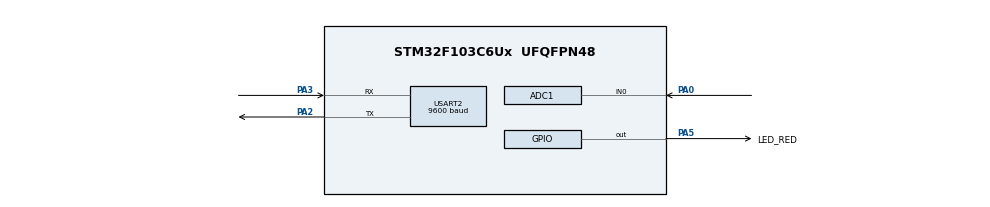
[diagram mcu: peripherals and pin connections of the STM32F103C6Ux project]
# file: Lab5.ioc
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ADC1.Channel-0\#ChannelRegularConversion=ADC_CHANNEL_0
ADC1.ContinuousConvMode=ENABLE
ADC1.NbrOfConversionFlag=1
ADC1.Rank-0\#ChannelRegularConversion=1
ADC1.SamplingTime-0\#ChannelRegularConversion=ADC_SAMPLETIME_1CYCLE_5
ADC1.master=1
Mcu.Family=STM32F1
Mcu.Name=STM32F103C6Ux
Mcu.Package=UFQFPN48
NVIC.PriorityGroup=NVIC_PRIORITYGROUP_4
NVIC.TIM2_IRQn=true\:0\:0\:false\:false\:true\:true\:true
NVIC.USART2_IRQn=true\:0\:0\:false\:false\:true\:true\:true
PA0-WKUP.Signal=ADCx_IN0
PA2.Mode=Asynchronous
PA2.Signal=USART2_TX
PA3.Mode=Asynchronous
PA3.Signal=USART2_RX
PA5.GPIO_Label=LED_RED
PA5.Signal=GPIO_Output
PA6.Signal=S_TIM3_CH1
ProjectManager.HeapSize=0x200
ProjectManager.StackSize=0x400
ProjectManager.TargetToolchain=STM32CubeIDE
RCC.APB1Freq_Value=8000000
RCC.APB2Freq_Value=8000000
SH.ADCx_IN0.0=ADC1_IN0,IN0
SH.S_TIM3_CH1.0=TIM3_CH1
TIM2.Period=9
TIM2.Prescaler=7999
USART2.BaudRate=9600
USART2.VirtualMode=VM_ASYNC
VP_SYS_VS_ND.Mode=No_Debug
VP_TIM2_VS_ClockSourceINT.Mode=Internal
board=custom

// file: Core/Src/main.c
/* USER CODE BEGIN Header */
/**
  ******************************************************************************
  * @file           : main.c
  * @brief          : Main program body
  ******************************************************************************
  * @attention
  *
  * <h2><center>&copy; Copyright (c) 2024 STMicroelectronics.
  * All rights reserved.</center></h2>
  *
  * This software component is licensed by ST under BSD 3-Clause license,
  * the "License"; You may not use this file except in compliance with the
  * License. You may obtain a copy of the License at:
  *                        opensource.org/licenses/BSD-3-Clause
  *
  ******************************************************************************
  */
/* USER CODE END Header */
#include "main.h"

/* USER CODE BEGIN Includes */
#include "time_set.h"
/* USER CODE END Includes */

/* USER CODE BEGIN PM */
#define MAX_BUFFER_SIZE 30
/* USER CODE END PM */

ADC_HandleTypeDef hadc1;

TIM_HandleTypeDef htim2;

UART_HandleTypeDef huart2;

void SystemClock_Config(void);
static void MX_GPIO_Init(void);
static void MX_ADC1_Init(void);
static void MX_USART2_UART_Init(void);
static void MX_TIM2_Init(void);

/* USER CODE BEGIN 0 */
uint8_t temp = 0;
uint8_t buffer [ MAX_BUFFER_SIZE ];
uint8_t index_buffer = 0;
uint8_t buffer_flag = 0;
uint8_t enable_processing = 0;
typedef enum {
    UART_IDLE,
    UART_RECEIVING,
    UART_PROCESSING
} UART_State;
UART_State uart_state = UART_IDLE;

void command_parser_fsm() {
	if(strncmp((char*)buffer, "!RST#", 6) == 0){
    	uart_state = UART_PROCESSING;
        HAL_UART_Transmit(&huart2, (uint8_t *)"Start communicating", strlen("Start communicating"), 500);
        HAL_UART_Transmit(&huart2, (uint8_t *)"\rEnter your command: ", strlen("\rEnter your command: "), 500);
        setTimer(1, timer_dura[1]);
        return;
    }
	if(enable_processing == 1){
		if (strncmp((char*)buffer, "led_on", 7) == 0) {
		        HAL_GPIO_WritePin(LED_RED_GPIO_Port, LED_RED_Pin, GPIO_PIN_RESET);
		        HAL_UART_Transmit(&huart2, (uint8_t *)"LED turned ON", strlen("LED turned ON"), 1000);
		        setTimer(1, timer_dura[1]);
		}
		else if (strncmp((char*)buffer, "led_off", 8) == 0) {
			HAL_GPIO_WritePin(LED_RED_GPIO_Port, LED_RED_Pin, GPIO_PIN_SET);
			HAL_UART_Transmit(&huart2, (uint8_t *)"LED turned OFF", strlen("LED turned OFF"), 1000);
			setTimer(1, timer_dura[1]);
		}
		else if (strncmp((char*)buffer, "read_adc", 9) == 0) {
			uint32_t adc_value = HAL_ADC_GetValue(&hadc1);
			char response[20];
			sprintf(response, "!ADC = %ld#", adc_value);
			HAL_UART_Transmit(&huart2, (uint8_t *)response, strlen(response), 1000);
			setTimer(1, timer_dura[1]);
		}
		else if(strncmp((char*)buffer, "!OK#", 5) == 0){
			HAL_UART_Transmit(&huart2, (uint8_t *)"\nStop communicating", strlen("\nStop communicating"), 1000);
			uart_state = UART_IDLE;
		}
		else {
			HAL_UART_Transmit(&huart2, (uint8_t *)"Invalid Command", strlen("Invalid Command"), 1000);
			setTimer(1, timer_dura[1]);
		}
	}
	else{
		HAL_UART_Transmit(&huart2, (uint8_t *)"Invalid Command", strlen("Invalid Command"), 1000);
		setTimer(1, timer_dura[1]);
	}

    HAL_UART_Transmit(&huart2, (uint8_t *)"\rEnter your command: ", strlen("\rEnter your command: "), 500);

}

void uart_communication_fsm() {
    switch (uart_state) {
        case UART_IDLE:
            enable_processing = 0;
            break;

        case UART_PROCESSING:
        	enable_processing = 1;
            if(timer_flag[1] == 1){
            	buffer_flag = 1;
            }
            break;

        default:
            uart_state = UART_IDLE;
            break;
    }
}

void HAL_UART_RxCpltCallback (UART_HandleTypeDef *huart) {

    if (huart->Instance == USART2) {
        if (temp == '\r' ) {
            buffer_flag = 1;
            buffer[index_buffer] = '\0';
            index_buffer = 0;
        } else {
//        	HAL_UART_Transmit (& huart2 , & temp , 1 , 50) ;
            buffer[index_buffer++] = temp;
            if (index_buffer >= MAX_BUFFER_SIZE) index_buffer = MAX_BUFFER_SIZE - 1;
        }
        setTimer(1, timer_dura[1]);
        HAL_UART_Receive_IT(&huart2, &temp, 1);
    }
}

/* USER CODE END 0 */

int main(void)
{

  /* MCU Configuration--------------------------------------------------------*/

  /* Reset of all peripherals, Initializes the Flash interface and the Systick. */
  HAL_Init();

  /* Configure the system clock */
  SystemClock_Config();

  /* Initialize all configured peripherals */
  MX_TIM2_Init();
  MX_GPIO_Init();
  MX_ADC1_Init();
  MX_USART2_UART_Init();

  /* USER CODE BEGIN 2 */
  HAL_ADC_Start(&hadc1);
  HAL_TIM_Base_Start_IT(&htim2);
  HAL_UART_Receive_IT (&huart2 , &temp , 1) ;
  /* USER CODE END 2 */

  /* Infinite loop */
  /* USER CODE BEGIN WHILE */
  setTimer(1, timer_dura[1]);
  HAL_UART_Transmit(&huart2, (uint8_t *)"Enter your command: ", strlen("Enter your command: "), 500);
  while (1)
  {
  	  if(buffer_flag == 1){
  		  command_parser_fsm();
  		  buffer_flag = 0;
  	  }
  	  uart_communication_fsm();
//	  if(timer_flag[1]){
//		  HAL_GPIO_TogglePin(LED_RED_GPIO_Port, LED_RED_Pin);
//		  setTimer(1, timer_dura[1]);
//	  }
    /* USER CODE END WHILE */

  }
}

void SystemClock_Config(void)
{
  RCC_OscInitTypeDef RCC_OscInitStruct = {0};
  RCC_ClkInitTypeDef RCC_ClkInitStruct = {0};
  RCC_PeriphCLKInitTypeDef PeriphClkInit = {0};

  /** Initializes the RCC Oscillators according to the specified parameters
  * in the RCC_OscInitTypeDef structure.
  */
  RCC_OscInitStruct.OscillatorType = RCC_OSCILLATORTYPE_HSI;
  RCC_OscInitStruct.HSIState = RCC_HSI_ON;
  RCC_OscInitStruct.HSICalibrationValue = RCC_HSICALIBRATION_DEFAULT;
  RCC_OscInitStruct.PLL.PLLState = RCC_PLL_NONE;
  if (HAL_RCC_OscConfig(&RCC_OscInitStruct) != HAL_OK)
  {
    Error_Handler();
  }
  /** Initializes the CPU, AHB and APB buses clocks
  */
  RCC_ClkInitStruct.ClockType = RCC_CLOCKTYPE_HCLK|RCC_CLOCKTYPE_SYSCLK
                              |RCC_CLOCKTYPE_PCLK1|RCC_CLOCKTYPE_PCLK2;
  RCC_ClkInitStruct.SYSCLKSource = RCC_SYSCLKSOURCE_HSI;
  RCC_ClkInitStruct.AHBCLKDivider = RCC_SYSCLK_DIV1;
  RCC_ClkInitStruct.APB1CLKDivider = RCC_HCLK_DIV1;
  RCC_ClkInitStruct.APB2CLKDivider = RCC_HCLK_DIV1;

  if (HAL_RCC_ClockConfig(&RCC_ClkInitStruct, FLASH_LATENCY_0) != HAL_OK)
  {
    Error_Handler();
  }
  PeriphClkInit.PeriphClockSelection = RCC_PERIPHCLK_ADC;
  PeriphClkInit.AdcClockSelection = RCC_ADCPCLK2_DIV2;
  if (HAL_RCCEx_PeriphCLKConfig(&PeriphClkInit) != HAL_OK)
  {
    Error_Handler();
  }
}

static void MX_ADC1_Init(void)
{

  ADC_ChannelConfTypeDef sConfig = {0};

  /** Common config
  */
  hadc1.Instance = ADC1;
  hadc1.Init.ScanConvMode = ADC_SCAN_DISABLE;
  hadc1.Init.ContinuousConvMode = ENABLE;
  hadc1.Init.DiscontinuousConvMode = DISABLE;
  hadc1.Init.ExternalTrigConv = ADC_SOFTWARE_START;
  hadc1.Init.DataAlign = ADC_DATAALIGN_RIGHT;
  hadc1.Init.NbrOfConversion = 1;
  if (HAL_ADC_Init(&hadc1) != HAL_OK)
  {
    Error_Handler();
  }
  /** Configure Regular Channel
  */
  sConfig.Channel = ADC_CHANNEL_0;
  sConfig.Rank = ADC_REGULAR_RANK_1;
  sConfig.SamplingTime = ADC_SAMPLETIME_1CYCLE_5;
  if (HAL_ADC_ConfigChannel(&hadc1, &sConfig) != HAL_OK)
  {
    Error_Handler();
  }

}

static void MX_TIM2_Init(void)
{

  TIM_ClockConfigTypeDef sClockSourceConfig = {0};
  TIM_MasterConfigTypeDef sMasterConfig = {0};

  htim2.Instance = TIM2;
  htim2.Init.Prescaler = 7999;
  htim2.Init.CounterMode = TIM_COUNTERMODE_UP;
  htim2.Init.Period = 9;
  htim2.Init.ClockDivision = TIM_CLOCKDIVISION_DIV1;
  htim2.Init.AutoReloadPreload = TIM_AUTORELOAD_PRELOAD_DISABLE;
  if (HAL_TIM_Base_Init(&htim2) != HAL_OK)
  {
    Error_Handler();
  }
  sClockSourceConfig.ClockSource = TIM_CLOCKSOURCE_INTERNAL;
  if (HAL_TIM_ConfigClockSource(&htim2, &sClockSourceConfig) != HAL_OK)
  {
    Error_Handler();
  }
  sMasterConfig.MasterOutputTrigger = TIM_TRGO_RESET;
  sMasterConfig.MasterSlaveMode = TIM_MASTERSLAVEMODE_DISABLE;
  if (HAL_TIMEx_MasterConfigSynchronization(&htim2, &sMasterConfig) != HAL_OK)
  {
    Error_Handler();
  }

}

static void MX_USART2_UART_Init(void)
{

  huart2.Instance = USART2;
  huart2.Init.BaudRate = 9600;
  huart2.Init.WordLength = UART_WORDLENGTH_8B;
  huart2.Init.StopBits = UART_STOPBITS_1;
  huart2.Init.Parity = UART_PARITY_NONE;
  huart2.Init.Mode = UART_MODE_TX_RX;
  huart2.Init.HwFlowCtl = UART_HWCONTROL_NONE;
  huart2.Init.OverSampling = UART_OVERSAMPLING_16;
  if (HAL_UART_Init(&huart2) != HAL_OK)
  {
    Error_Handler();
  }

}

static void MX_GPIO_Init(void)
{
  GPIO_InitTypeDef GPIO_InitStruct = {0};

  /* GPIO Ports Clock Enable */
  __HAL_RCC_GPIOA_CLK_ENABLE();

  /*Configure GPIO pin Output Level */
  HAL_GPIO_WritePin(LED_RED_GPIO_Port, LED_RED_Pin, GPIO_PIN_RESET);

  /*Configure GPIO pin : LED_RED_Pin */
  GPIO_InitStruct.Pin = LED_RED_Pin;
  GPIO_InitStruct.Mode = GPIO_MODE_OUTPUT_PP;
  GPIO_InitStruct.Pull = GPIO_NOPULL;
  GPIO_InitStruct.Speed = GPIO_SPEED_FREQ_LOW;
  HAL_GPIO_Init(LED_RED_GPIO_Port, &GPIO_InitStruct);

  /*Configure GPIO pin : PA6 */
  GPIO_InitStruct.Pin = GPIO_PIN_6;
  GPIO_InitStruct.Mode = GPIO_MODE_AF_PP;
  GPIO_InitStruct.Speed = GPIO_SPEED_FREQ_LOW;
  HAL_GPIO_Init(GPIOA, &GPIO_InitStruct);

}

/* USER CODE BEGIN 4 */
void HAL_TIM_PeriodElapsedCallback ( TIM_HandleTypeDef * htim )
{
	runTimer();
}
/* USER CODE END 4 */

void Error_Handler(void)
{
  __disable_irq();
  while (1)
  {
  }
}

/************************ (C) COPYRIGHT STMicroelectronics *****END OF FILE****/
